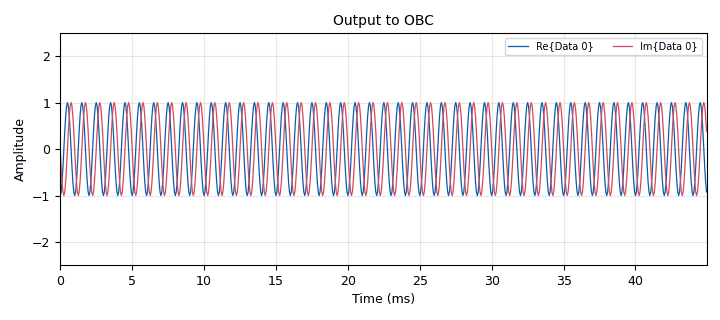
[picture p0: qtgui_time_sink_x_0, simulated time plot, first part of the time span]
options:
  parameters:
    author: stefanosperetta
    generate_options: qt_gui
    id: OBCEmulatorExample
    output_language: python
  states: {}

blocks:
- name: amplitude
  id: variable
  parameters:
    value: '1.0'
  states: {}
- name: frequency
  id: variable
  parameters:
    value: '1000'
  states: {}
- name: samp_rate
  id: variable
  parameters:
    value: '16000'
  states: {}
- name: analog_sig_source_x_0
  id: analog_sig_source_x
  parameters:
    amp: amplitude
    freq: frequency
    offset: '0'
    phase: '0'
    samp_rate: samp_rate
    type: complex
    waveform: analog.GR_COS_WAVE
  states: {}
- name: blocks_throttle_0
  id: blocks_throttle
  parameters:
    samples_per_second: samp_rate
    type: complex
  states: {}
- name: blocks_throttle_0_0
  id: blocks_throttle
  parameters:
    samples_per_second: samp_rate
    type: complex
  states: {state: disabled}
- name: qtgui_time_sink_x_0
  id: qtgui_time_sink_x
  parameters:
    label1: ''
    label2: ''
    name: Output to OBC
    size: '3000'
    srate: samp_rate
    type: complex
    ylabel: '""'
    ymax: '2.5'
    ymin: '-2.5'
  states: {}
- name: qtgui_time_sink_x_0_0
  id: qtgui_time_sink_x
  parameters:
    label1: ''
    label2: ''
    name: Input From OBC
    size: '3000'
    srate: samp_rate
    type: complex
    ylabel: '""'
    ymax: '2.5'
    ymin: '-2.5'
  states: {}
- name: xmlrpc_server_0
  id: xmlrpc_server
  parameters:
    addr: localhost
    port: '8080'
  states: {}
- name: zeromq_pub_sink_0
  id: zeromq_pub_sink
  parameters:
    address: tcp://127.0.0.1:5556
    timeout: '1000'
    type: complex
  states: {}
- name: zeromq_pull_source_0
  id: zeromq_pull_source
  parameters:
    address: tcp://127.0.0.1:5557
    timeout: '1000'
    type: complex
  states: {}

connections:
- [analog_sig_source_x_0, '0', blocks_throttle_0, '0']
- [blocks_throttle_0, '0', qtgui_time_sink_x_0, '0']
- [blocks_throttle_0, '0', zeromq_pub_sink_0, '0']
- [blocks_throttle_0_0, '0', qtgui_time_sink_x_0_0, '0']
- [zeromq_pull_source_0, '0', qtgui_time_sink_x_0_0, '0']

metadata:
  file_format: 1
